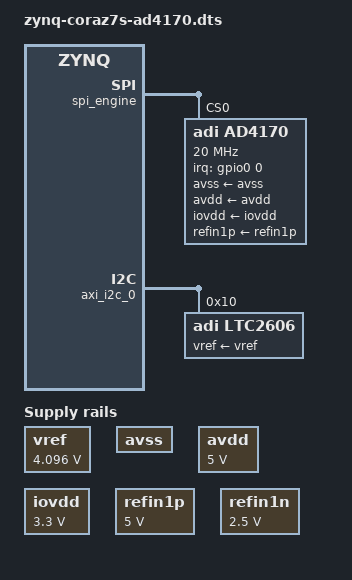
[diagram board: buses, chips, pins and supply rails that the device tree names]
// SPDX-License-Identifier: GPL-2.0
/*
 * Analog Devices AD4170
 *
 * hdl_project: <ad4170_asdz/coraz7s>
 * Link: https://github.com/analogdevicesinc/hdl/tree/main/projects/ad4170_asdz
 * board_revision: <A>
 *
 * Copyright (C) 2024 Analog Devices Inc.
 */
/dts-v1/;
#include "zynq-coraz7s.dtsi"
#include <dt-bindings/interrupt-controller/irq.h>
#include <dt-bindings/gpio/gpio.h>
#include <dt-bindings/iio/adc/adi,ad4170.h>

/ {
	vref: regulator-vref {
		compatible = "regulator-fixed";
		regulator-name = "fixed-supply";
		regulator-min-microvolt = <4096000>;
		regulator-max-microvolt = <4096000>;
		regulator-always-on;
	};
	avss: avss-regulator {
		compatible = "regulator-fixed";
		regulator-name = "fixed-supply";
		regulator-min-microvolt = <0>;
		regulator-max-microvolt = <0>;
		regulator-boot-on;
	};
	avdd: avdd-regulator {
		compatible = "regulator-fixed";
		regulator-name = "fixed-supply";
		regulator-min-microvolt = <5000000>;
		regulator-max-microvolt = <5000000>;
		regulator-boot-on;
	};
	iovdd: iovdd-regulator {
		compatible = "regulator-fixed";
		regulator-name = "fixed-supply";
		regulator-min-microvolt = <3300000>;
		regulator-max-microvolt = <3300000>;
		regulator-boot-on;
	};
	refin1p: refin1p-regulator {
		compatible = "regulator-fixed";
		regulator-name = "fixed-supply";
		regulator-min-microvolt = <5000000>;
		regulator-max-microvolt = <5000000>;
		regulator-boot-on;
	};
	refin1n: refin1n-regulator {
		compatible = "regulator-fixed";
		regulator-name = "fixed-supply";
		regulator-min-microvolt = <2500000>;
		regulator-max-microvolt = <2500000>;
		regulator-boot-on;
	};
};

&fpga_axi {
	rx_dma: rx-dmac@44a30000 {
		compatible = "adi,axi-dmac-1.00.a";
		reg = <0x44a30000 0x1000>;
		#dma-cells = <1>;
		interrupt-parent = <&intc>;
		interrupts = <0 57 IRQ_TYPE_LEVEL_HIGH>;
		clocks = <&clkc 16>;

		adi,channels {
			#size-cells = <0>;
			#address-cells = <1>;

			dma-channel@0 {
				reg = <0>;
				adi,source-bus-width = <32>;
				adi,source-bus-type = <1>;
				adi,destination-bus-width = <64>;
				adi,destination-bus-type = <0>;
			};
		};
	};

	spi_engine: spi@0x44a00000 {
		compatible = "adi-ex,axi-spi-engine-1.00.a";
		reg = <0x44a00000 0x10000>;
		interrupt-parent = <&intc>;
		//interrupts = <0 56 IRQ_TYPE_LEVEL_HIGH>;
		interrupts = <0 55 IRQ_TYPE_LEVEL_HIGH>;
		clocks = <&clkc 15 &spi_clk>;
		clock-names = "s_axi_aclk", "spi_clk";
		num-cs = <1>;

		#address-cells = <0x1>;
		#size-cells = <0x0>;

		ad4170@0 {
			compatible = "adi,ad4170";
			reg = <0>;
			spi-max-frequency = <20000000>;
			spi-cpol;
			spi-cpha;
			avss-supply = <&avss>;
			avdd-supply = <&avdd>;
			iovdd-supply = <&iovdd>;
			refin1p-supply = <&refin1p>;
			refin1n-supply = <&refin1n>;
			//gpio@e000a000
			//xlnx,zynq-gpio-1.0
			interrupt-parent = <&gpio0>;
			interrupts = <0 IRQ_TYPE_EDGE_FALLING>;
			interrupt-names = "adc_rdy";
			dmas = <&rx_dma 0>;
			dma-names = "rx";
			adi,dig-aux1 = /bits/ 8 <1>;
			adi,dig-aux2 = /bits/ 8 <0>;
			adi,sync-option = /bits/ 8 <0>;

			#address-cells = <1>;
			#size-cells = <0>;

			// Sample AIN0 with respect to AIN1 throughout AVDD/AVSS input range
			// Fully differential. If AVSS < 0V, Fully differential true bipolar
			channel@0 {
				reg = <0>;
				bipolar;
				diff-channels = <AD4170_MAP_AIN0 AD4170_MAP_AIN1>;
				adi,config-setup-slot = <0>;
				adi,reference-select = <3>;
				adi,burnout-current-nanoamp = <100>;
			};
			// Sample AIN2 with respect to DGND throughout AVDD/DGND input range
			// Peseudo-differential unipolar (fig. 2a)
			channel@1 {
				reg = <1>;
				single-channel = <AD4170_MAP_AIN2>;
				common-mode-channel = <AD4170_MAP_DGND>;
				adi,config-setup-slot = <1>;
				adi,reference-select = <3>;
			};
			// Sample AIN3 with respect to 2.5V throughout AVDD/AVSS input range
			// Pseudo-differential bipolar (fig. 2b)
			channel@2 {
				reg = <2>;
				bipolar;
				single-channel = <AD4170_MAP_AIN3>;
				common-mode-channel = <AD4170_MAP_REFOUT>;
				adi,config-setup-slot = <2>;
				adi,reference-select = <3>;
			};
			// Sample AIN4 with respect to DGND throughout AVDD/AVSS input range
			// Pseudo-differential ture bipolar if AVSS < 0V (fig. 2c)
			channel@3 {
				reg = <3>;
				bipolar;
				single-channel = <AD4170_MAP_AIN4>;
				common-mode-channel = <AD4170_MAP_DGND>;
				adi,config-setup-slot = <3>;
				adi,reference-select = <3>;
			};
			// Sample AIN5 with respect to 2.5V throughout AVDD/REFOUT input range
			// Pseudo-differential unipolar (AD4170 datasheet page 46 example)
			channel@4 {
			    reg = <4>;
			    single-channel = <AD4170_MAP_AIN5>;
			    common-mode-channel = <AD4170_MAP_REFOUT>;
			    adi,config-setup-slot = <4>;
			    adi,reference-select = <2>;
			};
			// Sample AIN6 with respect to REFIN+ throughout AVDD/AVSS input range
			// Pseudo-differential unipolar
			channel@5 {
				reg = <5>;
				single-channel = <AD4170_MAP_AIN6>;
				common-mode-channel = <AD4170_MAP_REFIN1_P>;
				adi,config-setup-slot = <4>;
				adi,reference-select = <2>;
			};
			// Sample AIN7 with respect to DGND throughout REFIN+/REFIN- input range
			// Pseudo-differential bipolar
			channel@6 {
				reg = <6>;
				bipolar;
				diff-channels = <AD4170_MAP_AIN7 AD4170_MAP_DGND>;
				adi,config-setup-slot = <5>;
				adi,reference-select = <0>;
			};
			// Temperature sensor
			channel@7 {
				reg = <7>;
				bipolar;
				diff-channels = <AD4170_MAP_TEMP_SENSOR_P AD4170_MAP_TEMP_SENSOR_N>;
				adi,config-setup-slot = <6>;
				adi,reference-select = <0>;
			};
			// Sample AIN8 with respect to DGND throughout AVDD/AVSS input range
			// Differential channel in theory but pseudo-differential in practice
			channel@8 {
				reg = <8>;
				bipolar;
				diff-channels = <AD4170_MAP_AIN8 AD4170_MAP_DGND>;
				adi,config-setup-slot = <7>;
				adi,reference-select = <3>;
			};

		};
	};

	axi_i2c_0:axi-iic@0x44a40000{
		compatible = "xlnx,axi-iic-1.02.a", "xlnx,xps-iic-2.00.a";
		reg = <0x44a40000 0x1000>;
		interrupt-parent = <&intc>;
		interrupts = <0 56 IRQ_TYPE_LEVEL_HIGH>;
		clocks = <&clkc 15>;

		#address-cells = <1>;
		#size-cells = <0>;

		ltc2606: ltc2606@10 {
			compatible = "adi,ltc2606";
			reg = <0x10>;
			vref-supply = <&vref>;
		};
	};

	spi_clk: axi-clkgen@0x44a70000 {
		compatible = "adi,axi-clkgen-2.00.a";
		reg = <0x44a70000 0x10000>;
		#clock-cells = <0>;
		clocks = <&clkc 15>, <&clkc 15>;
		clock-names = "s_axi_aclk", "clkin1";
		clock-output-names = "spi_clk";
	};
};
